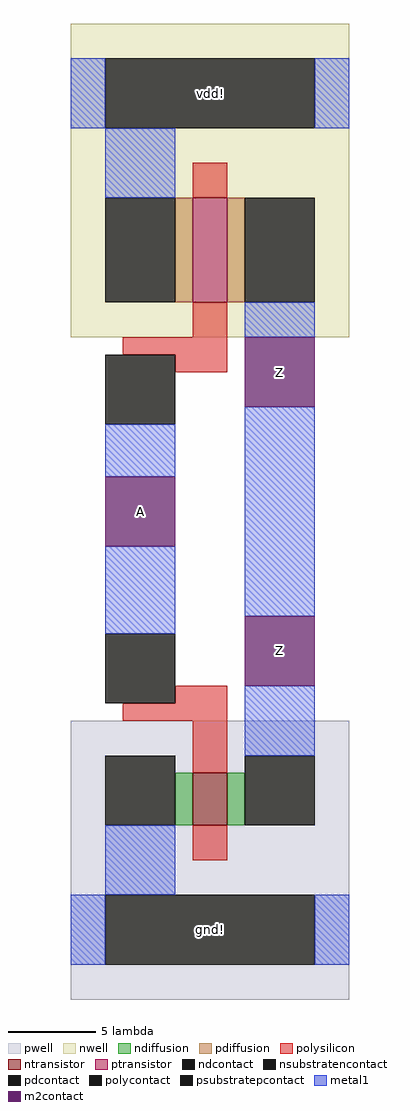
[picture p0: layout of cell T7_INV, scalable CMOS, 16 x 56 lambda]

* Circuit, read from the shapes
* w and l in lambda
.subckt T7_INV A Z gnd! vdd!
M1 Z A gnd! gnd! nfet w=3 l=2
M2 Z A vdd! vdd! pfet w=6 l=2
.ends

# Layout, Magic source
magic
tech scmos
<< pwell >>
rect 0 0 16 16
<< nwell >>
rect 0 38 16 56
<< polysilicon >>
rect 7 46 9 48
rect 7 38 9 40
rect 3 37 9 38
rect 6 36 9 37
rect 6 17 9 18
rect 3 16 9 17
rect 7 13 9 16
rect 7 8 9 10
<< ndiffusion >>
rect 6 10 7 13
rect 9 10 10 13
<< pdiffusion >>
rect 6 40 7 46
rect 9 40 10 46
<< metal1 >>
rect 0 50 2 54
rect 14 50 16 54
rect 2 46 6 50
rect 10 38 14 40
rect 2 30 6 33
rect 2 21 6 26
rect 10 22 14 34
rect 10 14 14 18
rect 2 6 6 10
rect 0 2 2 6
rect 14 2 16 6
<< ntransistor >>
rect 7 10 9 13
<< ptransistor >>
rect 7 40 9 46
<< polycontact >>
rect 2 33 6 37
rect 2 17 6 21
<< ndcontact >>
rect 2 10 6 14
rect 10 10 14 14
<< pdcontact >>
rect 2 40 6 46
rect 10 40 14 46
<< m2contact >>
rect 2 26 6 30
rect 10 34 14 38
rect 10 18 14 22
<< psubstratepcontact >>
rect 2 2 14 6
<< nsubstratencontact >>
rect 2 50 14 54
<< labels >>
rlabel psubstratepcontact 2 2 14 6 1 gnd!
rlabel m2contact 2 26 6 30 3 A
rlabel m2contact 10 34 14 38 1 Z
rlabel m2contact 10 18 14 22 1 Z
rlabel nsubstratencontact 2 50 14 54 1 vdd!
<< end >>
